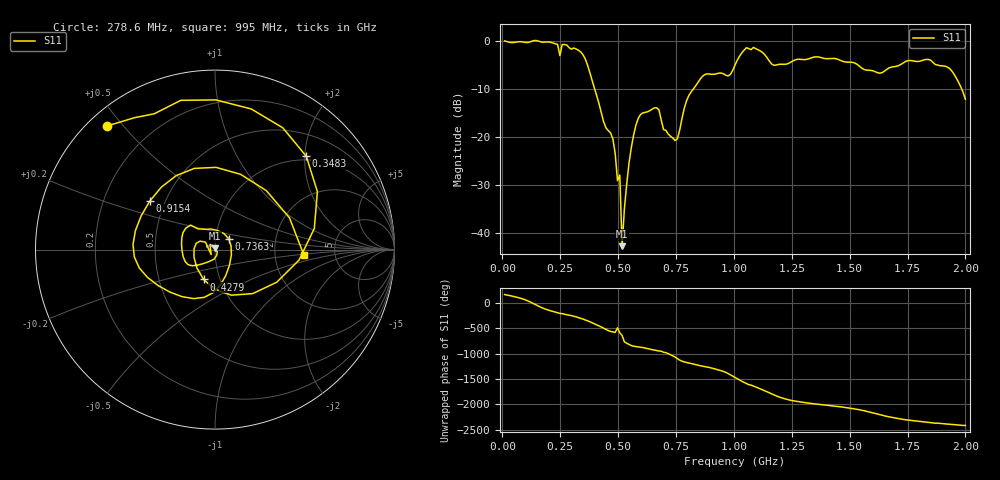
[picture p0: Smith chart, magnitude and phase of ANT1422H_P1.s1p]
!Created with skrf (http://scikit-rf.org).
# Hz S RI R 50.0
!freq ReS11 ImS11
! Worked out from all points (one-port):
!   201 points, 10 MHz to 2 GHz, reference 50 ohm
!   lowest |S11| = -42.8 dB at 517.5 MHz (marker M1), VSWR 1.01, Z = 50.1 + j0.714 ohm
!   |S11| at or under -10 dB: 399.2 MHz to 824.4 MHz (425.1 MHz wide, 69.5 % of centre); 1.984 GHz to end of sweep
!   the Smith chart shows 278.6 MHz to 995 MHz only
!   S11 on the Smith chart (normalised r, x): 278.6 MHz: 0.05, +0.45; 348.3 MHz: 0.92, +2.03; 427.9 MHz: 0.84, -0.29; 736.4 MHz: 1.16, +0.14; 915.5 MHz: 0.41, +0.28; 995 MHz: 2.95, -0.24
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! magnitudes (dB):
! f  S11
! 10 MHz  0.1
! 209 MHz  -0.2
! 248.8 MHz  -3.0
! 258.8 MHz  -0.7
! 278.6 MHz  -0.8
! 348.3 MHz  -2.8
! 427.9 MHz  -15.0
! 477.6 MHz  -20.4
! 497.6 MHz  -29.1
! 507.5 MHz  -28.0
! 517.5 MHz  -42.8
! 527.4 MHz  -35.0
! 547.3 MHz  -25.4
! 587.1 MHz  -16.1
! 666.7 MHz  -13.9
! 736.4 MHz  -20.2
! 756.2 MHz  -20.4
! 806 MHz  -11.3
! 915.5 MHz  -6.9
! 995 MHz  -6.1
! 1.005 GHz  -5.0
! 1.055 GHz  -1.3
! 1.254 GHz  -4.1
! 1.502 GHz  -4.3
! 1.632 GHz  -6.6
! 1.751 GHz  -4.0
! 1.93 GHz  -5.6
! 2 GHz  -12.1
